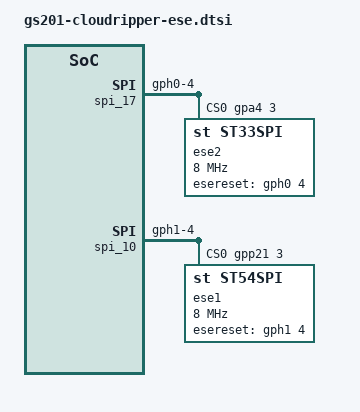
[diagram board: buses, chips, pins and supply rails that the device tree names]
// SPDX-License-Identifier: GPL-2.0
/*
 * Google GS101 Board device tree source
 *
 * Copyright (c) 2021 Google, LLC
 *		https://www.google.com
 *
*/

#include <dt-bindings/pinctrl/samsung.h>
#include <dt-bindings/gpio/gpio.h>

&pinctrl_6 {
	ese1_spi_rst: ese1-spi-rst {
		samsung,pins ="gph1-4";
		samsung,pin-con-pdn = <EXYNOS_PIN_PDN_PREV>;
		samsung,pin-pud-pdn = <EXYNOS_PIN_PULL_NONE>;
	};
	ese2_spi_rst: ese2-spi-rst {
		samsung,pins ="gph0-4";
		samsung,pin-con-pdn = <EXYNOS_PIN_PDN_PREV>;
		samsung,pin-pud-pdn = <EXYNOS_PIN_PULL_NONE>;
	};
};

&spi10_bus {
	samsung,pin-con-pdn = <EXYNOS_PIN_PDN_PREV>;
	samsung,pin-pud-pdn = <EXYNOS_PIN_PULL_NONE>;
};

&spi10_cs {
	samsung,pin-con-pdn = <EXYNOS_PIN_PDN_PREV>;
	samsung,pin-pud-pdn = <EXYNOS_PIN_PULL_NONE>;
};

&spi_17 {
	/* XAPM_USI0 */
	#address-cells = <1>;
	#size-cells = <0>;
	status = "okay";
	cs-gpios = <&gpa4 3 GPIO_ACTIVE_HIGH>;
	pinctrl-names = "default";
	pinctrl-0 = <&spi17_bus &spi17_cs &ese2_spi_rst>;

	ese2: ese@0 {
		compatible = "st,st33spi";
		reg = <0>;
		spi-max-frequency = <8000000>;
		esereset-gpio = <&gph0 4 GPIO_ACTIVE_HIGH>;
		power_mode = "ST33";

		controller-data {
			cs-gpio = <&gpa4 3 GPIO_ACTIVE_HIGH>;
			cs-clock-delay = <10>;
			samsung,spi-chip-select-mode = <0>;
		};
	};
};

&spi_10 {
	#address-cells = <1>;
	#size-cells = <0>;
	status = "okay";
	pinctrl-names = "default";
	pinctrl-0 = <&spi10_bus &spi10_cs &ese1_spi_rst>;
	cs-gpios = <&gpp21 3 GPIO_ACTIVE_HIGH>;

	ese1: ese@0 {
		compatible = "st,st54spi";
		reg = <0>;
		spi-max-frequency = <8000000>;
		esereset-gpio = <&gph1 4 GPIO_ACTIVE_HIGH>;
		power_mode = "ST54J";

		controller-data {
			cs-gpio = <&gpp21 3 GPIO_ACTIVE_HIGH>;
			cs-clock-delay = <10>;
			samsung,spi-chip-select-mode = <0>;
		};
	};
};

